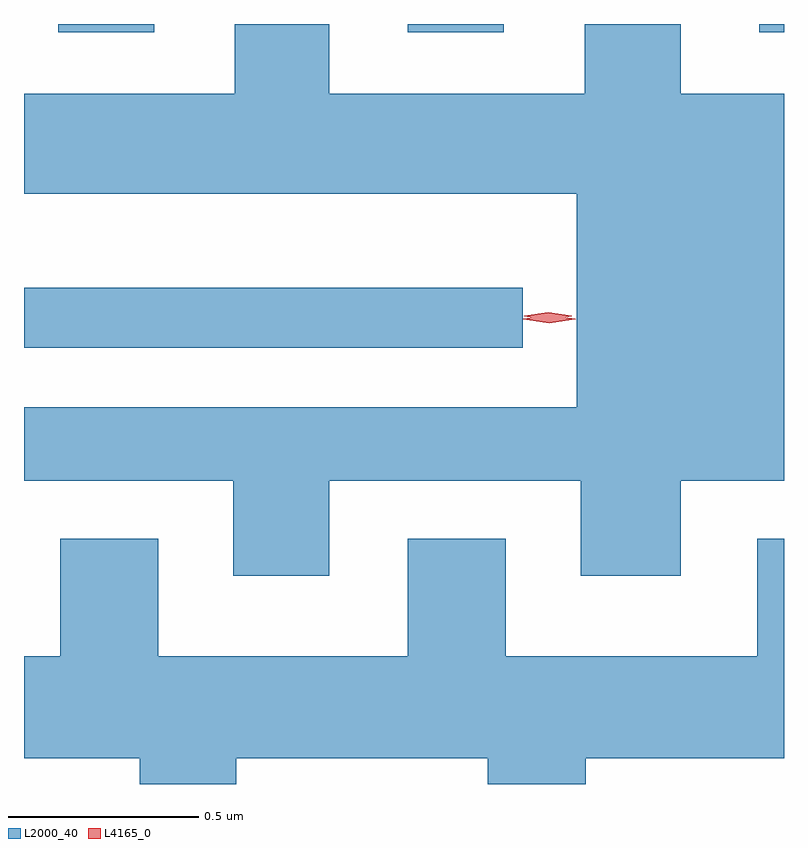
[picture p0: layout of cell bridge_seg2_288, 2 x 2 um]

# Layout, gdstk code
import gdstk
lib = gdstk.Library(unit=1e-6, precision=1e-09)
def R(c, l, rs):  # rectangles x0, y0, x1, y1
    for r in rs: c.add(gdstk.rectangle(r[:2], r[2:], *l))
def P(c, l, *ps):  # polygons
    for p in ps: c.add(gdstk.Polygon(p, *l))
L2000_40 = (2000, 40)
L4165_0 = (4165, 0)

bridge_seg2_288 = lib.new_cell('bridge_seg2_288')
R(bridge_seg2_288, L2000_40, [(637.716,1091.576,639.028,1091.734), (637.806,1092.406,638.059,1092.428), (638.726,1092.406,638.979,1092.428), (639.651,1092.406,639.716,1092.428)])
P(bridge_seg2_288, L2000_40, [(638.519,1091.226),(639.181,1091.226),(639.181,1090.976),(639.444,1090.976),(639.444,1091.226),(639.716,1091.226),(639.716,1092.244),(639.444,1092.244),(639.444,1092.428),(639.191,1092.428),(639.191,1092.244),(638.519,1092.244),(638.519,1092.428),(638.271,1092.428),(638.271,1092.244),(637.716,1092.244),(637.716,1091.981),(639.171,1091.981),(639.171,1091.419),(637.716,1091.419),(637.716,1091.226),(638.266,1091.226),(638.266,1090.976),(638.519,1090.976)],
  [(638.274,1090.496),(638.936,1090.496),(638.936,1090.428),(639.194,1090.428),(639.194,1090.496),(639.716,1090.496),(639.716,1091.074),(639.646,1091.074),(639.646,1090.764),(638.984,1090.764),(638.984,1091.074),(638.726,1091.074),(638.726,1090.764),(638.069,1090.764),(638.069,1091.074),(637.811,1091.074),(637.811,1090.764),(637.716,1090.764),(637.716,1090.496),(638.021,1090.496),(638.021,1090.428),(638.274,1090.428)])
P(bridge_seg2_288, L4165_0, [(639.098,1091.641),(639.03,1091.651),(639.029,1091.651),(639.03,1091.652),(639.099,1091.661),(639.167,1091.652),(639.168,1091.651),(639.167,1091.651)],
  [(639.096,1091.649),(639.033,1091.659),(639.033,1091.659),(639.033,1091.66),(639.096,1091.669),(639.158,1091.66),(639.158,1091.66),(639.158,1091.659)])

lib.write_gds('bridge_seg2_288.gds')
